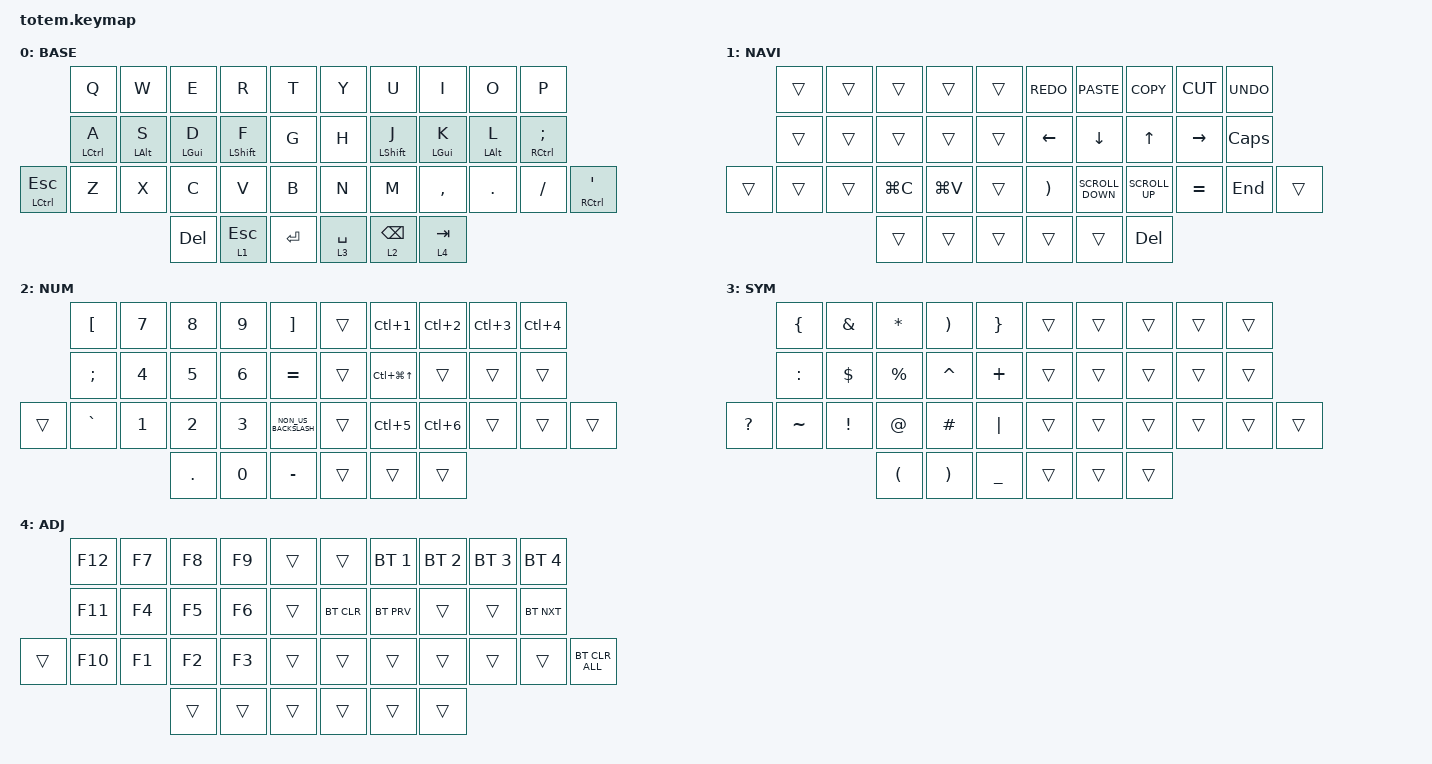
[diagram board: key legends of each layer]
//
//                                                        ▀▀▀▀▀     ▀▀▀▀▀          ▀▀█▀▀
//                                                        ▄▀▀▀▄  ▄  ▄▀▀▀▄  ▄  ▄▀▀▀▄  █  ▄▀▀▀▄
//                                                        █   █  █  █   █  █  █   █  █  █   █
//                                                         ▀▀▀   █   ▀▀▀   █   ▀▀▀   ▀   ▀▀▀
//                                                               █      ▄▄▄█▄▄▄    █   █  
//                                                               ▀      █  █  █     █▄█
//                                                             ▀▀▀▀▀    █  █  █      ▀
//                                                                      ▀  ▀  ▀
//
// ▄▄▄▄▄▄▄▄▄▄▄▄▄▄▄▄▄▄▄▄▄▄▄▄▄▄▄▄▄▄▄▄▄▄▄▄▄▄▄▄▄▄▄▄▄▄▄▄▄▄▄▄▄▄▄▄▄▄▄▄▄▄▄▄▄▄▄▄▄▄▄▄▄▄▄▄▄▄▄▄▄▄▄▄▄▄▄▄▄▄▄▄▄▄▄▄▄▄▄▄▄▄▄▄▄▄▄▄▄▄▄▄▄▄▄▄▄▄▄▄▄▄▄▄▄▄▄▄▄▄▄▄▄▄▄▄▄▄▄▄▄▄▄▄▄▄▄▄▄

#include <behaviors.dtsi>
#include <dt-bindings/zmk/bt.h>
#include <dt-bindings/zmk/keys.h>

#define BASE 0
#define NAV  1
#define SYM  2
#define ADJ  3
#define TVP1 4
#define TVP2 5

&mt {
    quick-tap-ms = <150>;
    global-quick-tap;
    flavor = "tap-preferred";
    tapping-term-ms = <170>;
};

/ {
    combos {
        compatible = "zmk,combos";

        combo_esc {
            timeout-ms = <60>;
            key-positions = <0 1>;
            bindings = <&kp TAB>;
            require-prior-idle-ms = <120>;
        };

        dash {
            bindings = <&kp MINUS>;
            key-positions = <19 31>;
            timeout-ms = <70>;
        };

        tilde_combo {
            bindings = <&kp TILDE>;
            key-positions = <0 20>;
            timeout-ms = <60>;
            require-prior-idle-ms = <100>;
        };

        enter_combo {
            bindings = <&kp ENTER>;
            key-positions = <13 12 11>;
            timeout-ms = <70>;
            require-prior-idle-ms = <100>;
        };

        enter_right_combo {
            bindings = <&kp ENTER>;
            key-positions = <16 18 17>;
            timeout-ms = <70>;
            require-prior-idle-ms = <100>;
        };
    };

    behaviors {
        mt_left: mt_left {
            compatible = "zmk,behavior-hold-tap";
            label = "MT_LEFT";
            bindings = <&kp>, <&kp>;

            #binding-cells = <2>;
            tapping-term-ms = <400>;
            quick-tap-ms = <170>;
            flavor = "balanced";
            hold-trigger-key-positions = <26 27 16 15 5 6 7 5 6 7 8 9 15 16 17 18 19 26 27 28 29 31 5 6 7 8 9 15 16 17 18 19 26 27 28 29 30 31 35 36 37 32 33 34>;
            require-prior-idle-ms = <50>;
            hold-trigger-on-release;
        };

        mt_right: mt_right {
            compatible = "zmk,behavior-hold-tap";
            label = "MT_RIGHT";
            bindings = <&kp>, <&kp>;

            #binding-cells = <2>;
            tapping-term-ms = <400>;
            quick-tap-ms = <170>;
            flavor = "balanced";
            require-prior-idle-ms = <50>;
            hold-trigger-on-release;
            hold-trigger-key-positions = <0 1 4 10 11 12 13 14 20 21 22 23 24 25 2 35 36 37 3 32 33 34>;
        };

        mt_thumb: mt_thumb {
            compatible = "zmk,behavior-hold-tap";
            label = "MT_THUMB";
            bindings = <&kp>, <&kp>;

            #binding-cells = <2>;
            quick-tap-ms = <220>;
            flavor = "balanced";
            tapping-term-ms = <100>;
            require-prior-idle-ms = <0>;
        };

        mt_shift_left: mt_shift_left {
            compatible = "zmk,behavior-hold-tap";
            label = "MT_SHIFT_LEFT";
            bindings = <&kp>, <&kp>;

            #binding-cells = <2>;
            tapping-term-ms = <175>;
            quick-tap-ms = <175>;
            flavor = "tap-preferred";
            hold-trigger-key-positions = <19 26 27 29 30 31 36 37 35 36 32 33 34 5 6 7 8 9 15 16 17 18 19 26 27 28 29 31>;
            require-prior-idle-ms = <20>;
        };

        mt_shift_right: mt_shift_right {
            compatible = "zmk,behavior-hold-tap";
            label = "MT_SHIFT_RIGHT";
            bindings = <&kp>, <&kp>;

            #binding-cells = <2>;
            tapping-term-ms = <175>;
            quick-tap-ms = <175>;
            flavor = "tap-preferred";
            hold-trigger-key-positions = <0 1 2 3 4 10 11 12 13 14 20 21 22 23 24 25 32 33 34 35 36 37>;
            require-prior-idle-ms = <20>;
        };

        hold_sticky: hold_sticky {
            compatible = "zmk,behavior-hold-tap";
            label = "HOLD_STICKY";
            bindings = <&kp>, <&sk>;

            #binding-cells = <2>;
            flavor = "hold-preferred";
            tapping-term-ms = <150>;
            quick-tap-ms = <220>;
        };

        mt_all: mt_all {
            compatible = "zmk,behavior-hold-tap";
            label = "MT_ALL";
            bindings = <&kp>, <&kp>;

            #binding-cells = <2>;
            tapping-term-ms = <175>;
            quick-tap-ms = <175>;
            flavor = "balanced";
            require-prior-idle-ms = <35>;
            hold-trigger-on-release;
        };
    };

    keymap {
        compatible = "zmk,keymap";

        // ▄▄▄▄▄▄▄▄▄▄▄▄▄▄▄▄▄▄▄▄▄▄▄▄▄▄▄▄▄▄▄▄▄▄▄▄▄▄▄▄▄▄▄▄▄▄▄▄▄▄▄▄▄▄▄▄▄▄▄▄▄▄▄▄▄▄▄▄▄▄▄▄▄▄▄▄▄▄▄▄▄▄▄▄▄▄▄▄▄▄▄▄▄▄▄▄▄▄▄▄▄▄▄▄▄▄▄▄▄▄▄▄▄▄▄▄▄▄▄▄▄▄▄▄▄▄▄▄▄▄▄▄▄▄▄▄▄▄▄▄▄▄▄▄▄▄▄▄▄

        base_layer {
            // ┏━━━━━━━━━━━━━━━━━━━━━━━━━━━━━━━━━━━━━━━┓

            label = "BASE";

            // ┗━━━━━━━━━━━━━━━━━━━━━━━━━━━━━━━━━━━━━━━┛
            //             ┏━━━━━━━━━━━┳━━━━━━━━━━━┳━━━━━━━━━━━┳━━━━━━━━━━━┳━━━━━━━━━━━┓   ┏━━━━━━━━━━━┳━━━━━━━━━━━┳━━━━━━━━━━━┳━━━━━━━━━━━┳━━━━━━━━━━━┓
            //             ┃     Q     ┃     W     ┃     F     ┃     P     ┃     G     ┃   ┃     J     ┃     L     ┃     U     ┃     Y     ┃     ;     ┃
            //             ┣━━━━━━━━━━━╋━━━━━━━━━━━╋━━━━━━━━━━━╋━━━━━━━━━━━╋━━━━━━━━━━━┫   ┣━━━━━━━━━━━╋━━━━━━━━━━━╋━━━━━━━━━━━╋━━━━━━━━━━━╋━━━━━━━━━━━┫
            //             ┃     A     ┃     R     ┃     S     ┃     T     ┃     D     ┃   ┃     H     ┃     N     ┃     E     ┃     I     ┃     O     ┃
            // ┏━━━━━━━━━━━╋━━━━━━━━━━━╋━━━━━━━━━━━╋━━━━━━━━━━━╋━━━━━━━━━━━╋━━━━━━━━━━━┫   ┣━━━━━━━━━━━╋━━━━━━━━━━━╋━━━━━━━━━━━╋━━━━━━━━━━━╋━━━━━━━━━━━╋━━━━━━━━━━━┓
            // ┃     Q     ┃     Z     ┃     X     ┃     C     ┃     V     ┃     B     ┃   ┃     K     ┃     M     ┃     ,     ┃     .     ┃     /     ┃     \     ┃
            // ┗━━━━━━━━━━━┻━━━━━━━━━━━┻━━━━━━━━━━━╋━━━━━━━━━━━╋━━━━━━━━━━━╋━━━━━━━━━━━┫   ┣━━━━━━━━━━━╋━━━━━━━━━━━╋━━━━━━━━━━━╋━━━━━━━━━━━┻━━━━━━━━━━━┻━━━━━━━━━━━┛
            //                                     ┃    DEL    ┃    TAB    ┃    SPC    ┃   ┃   ENTER   ┃           ┃   BSPC    ┃
            //                                     ┗━━━━━━━━━━━┻━━━━━━━━━━━┻━━━━━━━━━━━┛   ┗━━━━━━━━━━━┻━━━━━━━━━━━┻━━━━━━━━━━━┛

            bindings = <
                             &kp Q               &kp W                  &kp E            &kp R                    &kp T        &kp Y        &kp U                     &kp I             &kp O                   &kp P
                             &mt LEFT_CONTROL A  &mt_shift_left LALT S  &mt_left LGUI D  &mt_shift_left LSHIFT F  &kp G        &kp H        &mt_shift_right LSHIFT J  &mt_right LGUI K  &mt_shift_right LALT L  &mt RIGHT_CONTROL SEMICOLON
&mt_all LEFT_CONTROL ESCAPE  &kp Z               &kp X                  &kp C            &kp V                    &kp B        &kp N        &kp M                     &kp COMMA         &kp DOT                 &kp FSLH                     &mt_all RCTRL SQT
                                                                        &kp DELETE       &lt 1 ESCAPE             &kp ENTER    &lt 3 SPACE  &lt 2 BACKSPACE           &lt 4 TAB
            >;
        };

        nav_layer {
            // ┏━━━━━━━━━━━━━━━━━━━━━━━━━━━━━━━━━━━━━━━┓

            label = "NAVI";

            // ┗━━━━━━━━━━━━━━━━━━━━━━━━━━━━━━━━━━━━━━━┛
            //             ┏━━━━━━━━━━━┳━━━━━━━━━━━┳━━━━━━━━━━━┳━━━━━━━━━━━┳━━━━━━━━━━━┓   ┏━━━━━━━━━━━┳━━━━━━━━━━━┳━━━━━━━━━━━┳━━━━━━━━━━━┳━━━━━━━━━━━┓
            //             ┃           ┃           ┃     UP    ┃           ┃     {     ┃   ┃     }     ┃     7     ┃     8     ┃     9     ┃     +     ┃
            //             ┣━━━━━━━━━━━╋━━━━━━━━━━━╋━━━━━━━━━━━╋━━━━━━━━━━━╋━━━━━━━━━━━┫   ┣━━━━━━━━━━━╋━━━━━━━━━━━╋━━━━━━━━━━━╋━━━━━━━━━━━╋━━━━━━━━━━━┫
            //             ┃   SHIFT   ┃   LEFT    ┃    DOWN   ┃   RIGHT   ┃     [     ┃   ┃     ]     ┃     4     ┃     5     ┃     6     ┃     -     ┃
            // ┏━━━━━━━━━━━╋━━━━━━━━━━━╋━━━━━━━━━━━╋━━━━━━━━━━━╋━━━━━━━━━━━╋━━━━━━━━━━━┫   ┣━━━━━━━━━━━╋━━━━━━━━━━━╋━━━━━━━━━━━╋━━━━━━━━━━━╋━━━━━━━━━━━╋━━━━━━━━━━━┓
            // ┃           ┃           ┃   P UP    ┃  C LOCK   ┃  P DOWN   ┃     (     ┃   ┃     )     ┃     1     ┃     2     ┃     3     ┃     *     ┃           ┃
            // ┗━━━━━━━━━━━┻━━━━━━━━━━━┻━━━━━━━━━━━╋━━━━━━━━━━━╋━━━━━━━━━━━╋━━━━━━━━━━━┫   ┣━━━━━━━━━━━╋━━━━━━━━━━━╋━━━━━━━━━━━╋━━━━━━━━━━━┻━━━━━━━━━━━┻━━━━━━━━━━━┛
            //                                     ┃           ┃    TAB    ┃    SPC    ┃   ┃    DEL    ┃     0     ┃           ┃
            //                                     ┗━━━━━━━━━━━┻━━━━━━━━━━━┻━━━━━━━━━━━┛   ┗━━━━━━━━━━━┻━━━━━━━━━━━┻━━━━━━━━━━━┛

            bindings = <
        &trans  &trans  &trans     &trans     &trans    &kp K_REDO  &kp K_PASTE        &kp K_COPY       &kp K_CUT  &kp K_UNDO
        &trans  &trans  &trans     &trans     &trans    &kp LEFT    &kp DOWN           &kp UP_ARROW     &kp RIGHT  &kp CAPSLOCK
&trans  &trans  &trans  &kp LG(C)  &kp LG(V)  &trans    &kp RPAR    &kp K_SCROLL_DOWN  &kp K_SCROLL_UP  &kp EQUAL  &kp END       &trans
                        &trans     &trans     &trans    &trans      &trans             &kp DELETE
            >;
        };

        num_layer {
            label = "NUM";
            bindings = <
        &kp LEFT_BRACKET  &kp N7        &kp N8        &kp N9        &kp RIGHT_BRACKET       &trans  &kp LC(NUMBER_1)      &kp LC(NUMBER_2)  &kp LC(NUMBER_3)  &kp LC(NUMBER_4)
        &kp SEMICOLON     &kp NUMBER_4  &kp N5        &kp NUMBER_6  &kp EQUAL               &trans  &kp LC(LG(UP_ARROW))  &trans            &trans            &trans
&trans  &kp GRAVE         &kp NUMBER_1  &kp NUMBER_2  &kp NUMBER_3  &kp NON_US_BACKSLASH    &trans  &kp LC(N5)            &kp LC(NUMBER_6)  &trans            &trans            &trans
                                        &kp PERIOD    &kp N0        &kp MINUS               &trans  &trans                &trans
            >;
        };

        sim_layer {
            // ┏━━━━━━━━━━━━━━━━━━━━━━━━━━━━━━━━━━━━━━━┓

            label = "SYM";

            // ┗━━━━━━━━━━━━━━━━━━━━━━━━━━━━━━━━━━━━━━━┛
            //             ┏━━━━━━━━━━━┳━━━━━━━━━━━┳━━━━━━━━━━━┳━━━━━━━━━━━┳━━━━━━━━━━━┓   ┏━━━━━━━━━━━┳━━━━━━━━━━━┳━━━━━━━━━━━┳━━━━━━━━━━━┳━━━━━━━━━━━┓
            //             ┃     !     ┃     @     ┃     #     ┃     $     ┃     %     ┃   ┃     ˆ     ┃     &     ┃     Ü     ┃     '     ┃     "     ┃
            //             ┣━━━━━━━━━━━╋━━━━━━━━━━━╋━━━━━━━━━━━╋━━━━━━━━━━━╋━━━━━━━━━━━┫   ┣━━━━━━━━━━━╋━━━━━━━━━━━╋━━━━━━━━━━━╋━━━━━━━━━━━╋━━━━━━━━━━━┫
            //             ┃     Ä     ┃           ┃    SZ     ┃           ┃           ┃   ┃   MUTE    ┃   YEN     ┃   EURO    ┃  POUND    ┃     Ö     ┃
            // ┏━━━━━━━━━━━╋━━━━━━━━━━━╋━━━━━━━━━━━╋━━━━━━━━━━━╋━━━━━━━━━━━╋━━━━━━━━━━━┫   ┣━━━━━━━━━━━╋━━━━━━━━━━━╋━━━━━━━━━━━╋━━━━━━━━━━━╋━━━━━━━━━━━╋━━━━━━━━━━━┓
            // ┃           ┃  EMAIL1   ┃  EMAIL2   ┃           ┃           ┃           ┃   ┃   VOL-    ┃   VOL+    ┃   LAST    ┃   NEXT    ┃     \     ┃           ┃
            // ┗━━━━━━━━━━━┻━━━━━━━━━━━┻━━━━━━━━━━━╋━━━━━━━━━━━╋━━━━━━━━━━━╋━━━━━━━━━━━┫   ┣━━━━━━━━━━━╋━━━━━━━━━━━╋━━━━━━━━━━━╋━━━━━━━━━━━┻━━━━━━━━━━━┻━━━━━━━━━━━┛
            //                                     ┃           ┃    GIF    ┃    ADJ    ┃   ┃           ┃           ┃           ┃
            //                                     ┗━━━━━━━━━━━┻━━━━━━━━━━━┻━━━━━━━━━━━┛   ┗━━━━━━━━━━━┻━━━━━━━━━━━┻━━━━━━━━━━━┛

            bindings = <
              &kp LEFT_BRACE  &kp AMPERSAND    &kp ASTERISK          &kp RIGHT_PARENTHESIS  &kp RIGHT_BRACE    &trans  &trans  &trans  &trans  &trans
              &kp COLON       &kp DOLLAR       &kp PERCENT           &kp CARET              &kp PLUS           &trans  &trans  &trans  &trans  &trans
&kp QUESTION  &kp TILDE       &kp EXCLAMATION  &kp AT_SIGN           &kp HASH               &kp PIPE           &trans  &trans  &trans  &trans  &trans  &trans
                                               &kp LEFT_PARENTHESIS  &kp RIGHT_PARENTHESIS  &kp UNDERSCORE     &trans  &trans  &trans
            >;
        };

        adjust_layer {
            // ┏━━━━━━━━━━━━━━━━━━━━━━━━━━━━━━━━━━━━━━━┓

            label = "ADJ";

            // ┗━━━━━━━━━━━━━━━━━━━━━━━━━━━━━━━━━━━━━━━┛
            //             ┏━━━━━━━━━━━┳━━━━━━━━━━━┳━━━━━━━━━━━┳━━━━━━━━━━━┳━━━━━━━━━━━┓   ┏━━━━━━━━━━━┳━━━━━━━━━━━┳━━━━━━━━━━━┳━━━━━━━━━━━┳━━━━━━━━━━━┓
            //             ┃   RESET   ┃ BT CLEAR  ┃  OUT TOG  ┃           ┃           ┃   ┃           ┃    F7     ┃    F8     ┃    F9     ┃    F12    ┃
            //             ┣━━━━━━━━━━━╋━━━━━━━━━━━╋━━━━━━━━━━━╋━━━━━━━━━━━╋━━━━━━━━━━━┫   ┣━━━━━━━━━━━╋━━━━━━━━━━━╋━━━━━━━━━━━╋━━━━━━━━━━━╋━━━━━━━━━━━┫
            //             ┃ BOOTLOAD  ┃ BT NEXT   ┃           ┃           ┃           ┃   ┃           ┃    F4     ┃    F5     ┃    F6     ┃    F11    ┃
            // ┏━━━━━━━━━━━╋━━━━━━━━━━━╋━━━━━━━━━━━╋━━━━━━━━━━━╋━━━━━━━━━━━╋━━━━━━━━━━━┫   ┣━━━━━━━━━━━╋━━━━━━━━━━━╋━━━━━━━━━━━╋━━━━━━━━━━━╋━━━━━━━━━━━╋━━━━━━━━━━━┓
            // ┃           ┃           ┃ BT PREV   ┃           ┃           ┃           ┃   ┃           ┃    F1     ┃    F2     ┃    F3     ┃    F10    ┃           ┃
            // ┗━━━━━━━━━━━┻━━━━━━━━━━━┻━━━━━━━━━━━╋━━━━━━━━━━━╋━━━━━━━━━━━╋━━━━━━━━━━━┫   ┣━━━━━━━━━━━╋━━━━━━━━━━━╋━━━━━━━━━━━╋━━━━━━━━━━━┻━━━━━━━━━━━┻━━━━━━━━━━━┛
            //                                     ┃           ┃           ┃           ┃   ┃           ┃           ┃           ┃
            //                                     ┗━━━━━━━━━━━┻━━━━━━━━━━━┻━━━━━━━━━━━┛   ┗━━━━━━━━━━━┻━━━━━━━━━━━┻━━━━━━━━━━━┛

            bindings = <
        &kp F12  &kp F7  &kp F8  &kp F9  &trans    &trans      &bt BT_SEL 1  &bt BT_SEL 2  &bt BT_SEL 3  &bt BT_SEL 4
        &kp F11  &kp F4  &kp F5  &kp F6  &trans    &bt BT_CLR  &bt BT_PRV    &trans        &trans        &bt BT_NXT
&trans  &kp F10  &kp F1  &kp F2  &kp F3  &trans    &trans      &trans        &trans        &trans        &trans        &bt BT_CLR_ALL
                         &trans  &trans  &trans    &trans      &trans        &trans
            >;
        };

        // ▄▄▄▄▄▄▄▄▄▄▄▄▄▄▄▄▄▄▄▄▄▄▄▄▄▄▄▄▄▄▄▄▄▄▄▄▄▄▄▄▄▄▄▄▄▄▄▄▄▄▄▄▄▄▄▄▄▄▄▄▄▄▄▄▄▄▄▄▄▄▄▄▄▄▄▄▄▄▄▄▄▄▄▄▄▄▄▄▄▄▄▄▄▄▄▄▄▄▄▄▄▄▄▄▄▄▄▄▄▄▄▄▄▄▄▄▄▄▄▄▄▄▄▄▄▄▄▄▄▄▄▄▄▄▄▄▄▄▄▄▄▄▄▄▄▄▄▄▄
        // ▄▄▄▄▄▄▄▄▄▄▄▄▄▄▄▄▄▄▄▄▄▄▄▄▄▄▄▄▄▄▄▄▄▄▄▄▄▄▄▄▄▄▄▄▄▄▄▄▄▄▄▄▄▄▄▄▄▄▄▄▄▄▄▄▄▄▄▄▄▄▄▄▄▄▄▄▄▄▄▄▄▄▄▄▄▄▄▄▄▄▄▄▄▄▄▄▄▄▄▄▄▄▄▄▄▄▄▄▄▄▄▄▄▄▄▄▄▄▄▄▄▄▄▄▄▄▄▄▄▄▄▄▄▄▄▄▄▄▄▄▄▄▄▄▄▄▄▄▄
    };
};
